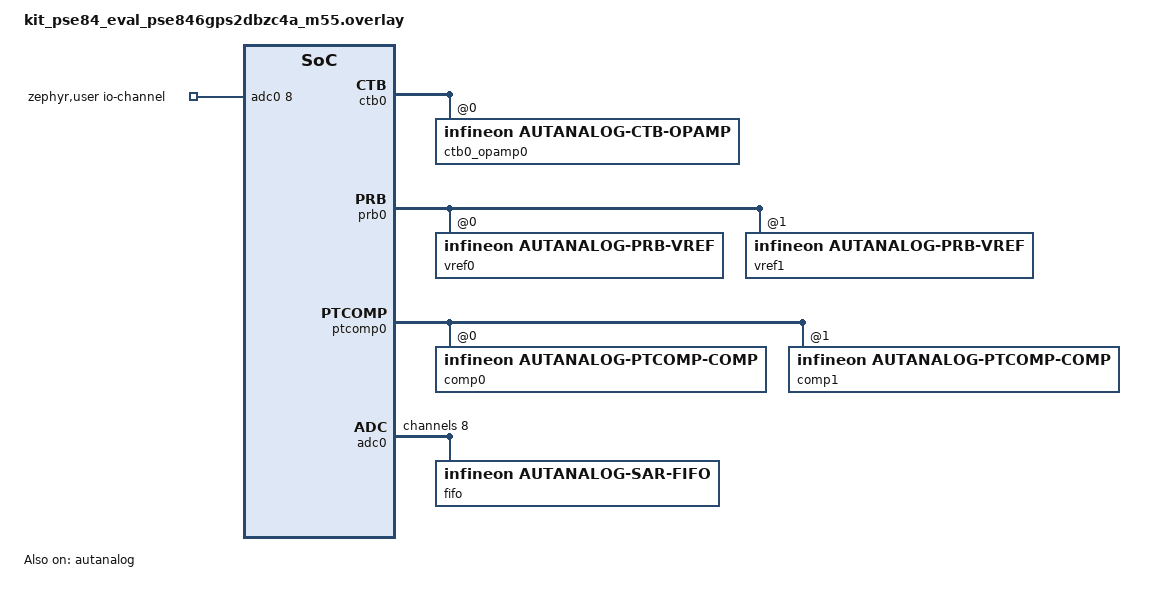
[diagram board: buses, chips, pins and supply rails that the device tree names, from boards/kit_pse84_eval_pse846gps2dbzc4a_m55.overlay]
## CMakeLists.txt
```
# SPDX-FileCopyrightText: Copyright (c) 2026 Infineon Technologies AG,
# SPDX-FileCopyrightText: or an affiliate of Infineon Technologies AG. All rights reserved.
#
# SPDX-License-Identifier: Apache-2.0

cmake_minimum_required(VERSION 3.20.0)

find_package(Zephyr REQUIRED HINTS $ENV{ZEPHYR_BASE})
project(ADC)

target_sources(app PRIVATE src/main.c)
```

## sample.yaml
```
# SPDX-FileCopyrightText: <text>Copyright (c) 2026 Infineon Technologies AG,
# or an affiliate of Infineon Technologies AG. All rights reserved.</text>
#
# SPDX-License-Identifier: Apache-2.0

sample:
  name: AutAnalog low-power audio sample
common:
  tags:
    - adc
    - comparator
  depends_on:
    - adc
  filter: dt_node_has_prop("/zephyr,user","io-channels")

tests:
  sample.boards.infineon.autanalog.lp_audio:
    platform_allow:
      - kit_pse84_eval/pse846gps2dbzc4a/m55
    integration_platforms:
      - kit_pse84_eval/pse846gps2dbzc4a/m55
    harness: console
    timeout: 30
    harness_config:
      type: multi_line
      regex:
        - "AutAnalog LP audio sample"
        - "Opamp .+ ready"
        - "Comparators ready"
        - "ADC ready"
        - "Frame \\d+: \\d+ samples"
```

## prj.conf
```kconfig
# SPDX-FileCopyrightText: Copyright (c) 2026 Infineon Technologies AG,
# SPDX-FileCopyrightText: or an affiliate of Infineon Technologies AG. All rights reserved.
#
# SPDX-License-Identifier: Apache-2.0

CONFIG_ADC=y
CONFIG_ADC_STREAM=y
CONFIG_COMPARATOR=y
CONFIG_OPAMP=y
CONFIG_REGULATOR=y
```

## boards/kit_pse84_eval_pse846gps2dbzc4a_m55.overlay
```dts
/*
 * SPDX-FileCopyrightText: Copyright (c) 2026 Infineon Technologies AG,
 * SPDX-FileCopyrightText: or an affiliate of Infineon Technologies AG. All rights reserved.
 *
 * SPDX-License-Identifier: Apache-2.0
 */

/*
 * Low-power autonomous analog configuration for voice/audio input.
 *
 * Signal path:
 *   Analog mic -> CTB0 OA0 (open-loop preamp) -> SAR MUX ch0 -> FIFO
 *   CTB0 OA0 output -> PTCOMP comp0/comp1 vs PRB thresholds (AAD)
 *
 * The SAR ADC runs in LP mode using LPOSC at 4.096 MHz.  The FIFO
 * collects conversion results and fires a watermark interrupt every
 * 160 samples (~10 ms at ~16 kHz effective rate).
 *
 * The Autonomous Controller (AC) uses an 11-state advanced state machine:
 *   State 0:  Init - wait for BLOCK_READY, enable LP mode, unlock peripherals
 *   State 1:  Wait for FW trigger 0 (start command from application)
 *   State 2:  Branch unconditionally to state 6 (skip AAD on first pass)
 *   State 3:  AAD entry - wait for BLOCK_READY
 *   State 4:  AAD - wait for PTCOMP_RANGE0 (acoustic activity detected)
 *   State 5:  No-op, fall through to state 6
 *   State 6:  Wait for TIMER_DONE_WAKE (periodic sampling tick, period=255)
 *   State 7:  Wait for BLOCK_READY, enable SAR
 *   State 8:  Trigger SAR conversion, wait for SAR_DONE
 *   State 9:  Check FW trigger 1 (stop): if not set -> loop to state 6
 *   State 10: Branch unconditionally to state 3 (return to AAD idle)
 */

#include <zephyr/dt-bindings/adc/adc.h>
#include <zephyr/dt-bindings/adc/infineon-autanalog-sar.h>
#include <zephyr/dt-bindings/comparator/infineon-autanalog-ptcomp.h>
#include <zephyr/dt-bindings/regulator/infineon-autanalog-prb.h>
#include <zephyr/dt-bindings/opamp/infineon-autanalog-ctb.h>
#include <zephyr/dt-bindings/mfd/infineon-autanalog.h>

/ {
	zephyr,user {
		/* Single MUX channel: CTB0 OA0 output (mic preamp) */
		io-channels = <&adc0 8>;
	};

	/*
	 * Autonomous Controller: 11-state advanced state machine
	 *
	 * Reference: analog_mic_interface_states_stt / analog_mic_interface_states_cfg
	 *
	 * Flow:
	 *   [0] Init -> [1] wait FW_TRIGGER0 -> [2] branch -> [6] timer loop
	 *   [6] TIMER_DONE_WAKE -> [7] enable SAR -> [8] trigger/SAR_DONE ->
	 *   [9] check FW_TRIGGER1: not set -> [6]; set -> [10] -> [3] AAD idle
	 *   [3] BLOCK_READY -> [4] PTCOMP_RANGE0 -> [5] -> [6] resume sampling
	 */

	/* State 0: Init - unlock, LP mode, wait BLOCK_READY -> state 1 */
	ac_state0: ac-state-0 {
		compatible = "infineon,autanalog-ac-state";
		ac-unlock = <1>;
		ac-lp-mode = <1>;
		ac-condition = <IFX_AUTANALOG_AC_COND_BLOCK_READY>;
		ac-action = <IFX_AUTANALOG_AC_ACTION_WAIT_FOR>;
		branch-state = <1>;
		/* PRB: set initial reference taps */
		prb-unlock = <1>;
		prb-vref0-fw = <1>;
		prb-vref0-tap = <IFX_AUTANALOG_PRB_TAP_8>;
		prb-vref1-fw = <1>;
		prb-vref1-tap = <IFX_AUTANALOG_PRB_TAP_6>;
		/* CTB0: enable opamp0 (mic preamp) */
		ctb0-unlock = <1>;
		ctb0-enable-opamp0 = <1>;
		ctb0-gain-opamp0 = <IFX_AUTANALOG_CTB_OA_GAIN_1_00>;
	};

	/* State 1: Wait for FW trigger 0 (application start command) */
	ac_state1: ac-state-1 {
		compatible = "infineon,autanalog-ac-state";
		ac-condition = <IFX_AUTANALOG_AC_COND_TR_IN0>;
		ac-action = <IFX_AUTANALOG_AC_ACTION_WAIT_FOR>;
	};

	/* State 2: Unconditional branch to state 6 (skip AAD on first pass) */
	ac_state2: ac-state-2 {
		compatible = "infineon,autanalog-ac-state";
		ac-condition = <IFX_AUTANALOG_AC_COND_TRUE>;
		ac-action = <IFX_AUTANALOG_AC_ACTION_BRANCH_IF_TRUE>;
		branch-state = <6>;
		/* Enable PTCOMP comparators for AAD detection */
		ptcomp0-enable-comp0 = <1>;
		ptcomp0-enable-comp1 = <1>;
		ptcomp0-dyn-cfg-idx-comp0 = <0>;
		ptcomp0-dyn-cfg-idx-comp1 = <1>;
	};

	/* State 3: AAD idle entry - wait BLOCK_READY */
	ac_state3: ac-state-3 {
		compatible = "infineon,autanalog-ac-state";
		ac-condition = <IFX_AUTANALOG_AC_COND_BLOCK_READY>;
		ac-action = <IFX_AUTANALOG_AC_ACTION_WAIT_FOR>;
		/* Re-enable PTCOMP for AAD (unlock to reconfigure) */
		ptcomp0-unlock = <1>;
		ptcomp0-enable-comp0 = <1>;
		ptcomp0-enable-comp1 = <1>;
		ptcomp0-dyn-cfg-idx-comp0 = <0>;
		ptcomp0-dyn-cfg-idx-comp1 = <1>;
	};

	/* State 4: AAD - wait for acoustic activity (PTCOMP range 0) */
	ac_state4: ac-state-4 {
		compatible = "infineon,autanalog-ac-state";
		ac-condition = <IFX_AUTANALOG_AC_COND_PTCOMP_RANGE0>;
		ac-action = <IFX_AUTANALOG_AC_ACTION_WAIT_FOR>;
	};

	/* State 5: No-op, fall through to state 6 */
	ac_state5: ac-state-5 {
		compatible = "infineon,autanalog-ac-state";
		ac-condition = <IFX_AUTANALOG_AC_COND_FALSE>;
		ac-action = <IFX_AUTANALOG_AC_ACTION_NEXT>;
		/* Disable PTCOMP during active sampling */
		ptcomp0-unlock = <0>;
	};

	/* State 6: Wait for timer tick (periodic sampling interval) */
	ac_state6: ac-state-6 {
		compatible = "infineon,autanalog-ac-state";
		ac-condition = <IFX_AUTANALOG_AC_COND_TIMER_DONE_WAKE>;
		ac-action = <IFX_AUTANALOG_AC_ACTION_WAIT_FOR>;
	};

	/* State 7: Enable SAR, wait BLOCK_READY */
	ac_state7: ac-state-7 {
		compatible = "infineon,autanalog-ac-state";
		ac-condition = <IFX_AUTANALOG_AC_COND_BLOCK_READY>;
		ac-action = <IFX_AUTANALOG_AC_ACTION_WAIT_FOR>;
		sar-unlock = <1>;
		sar-enable = <1>;
	};

	/* State 8: Trigger SAR conversion, wait SAR_DONE */
	ac_state8: ac-state-8 {
		compatible = "infineon,autanalog-ac-state";
		ac-condition = <IFX_AUTANALOG_AC_COND_SAR_DONE>;
		ac-action = <IFX_AUTANALOG_AC_ACTION_WAIT_FOR>;
		sar-unlock = <1>;
		sar-enable = <1>;
		sar-trigger = <1>;
	};

	/* State 9: Check FW trigger 1 (stop). If NOT set -> loop to 6.
	 * If set -> fall through to state 10 (return to AAD).
	 */
	ac_state9: ac-state-9 {
		compatible = "infineon,autanalog-ac-state";
		ac-condition = <IFX_AUTANALOG_AC_COND_TR_IN1>;
		ac-action = <IFX_AUTANALOG_AC_ACTION_BRANCH_IF_FALSE>;
		branch-state = <6>;
		sar-unlock = <1>;
	};

	/* State 10: Unconditional branch to state 3 (AAD idle) */
	ac_state10: ac-state-10 {
		compatible = "infineon,autanalog-ac-state";
		ac-condition = <IFX_AUTANALOG_AC_COND_TRUE>;
		ac-action = <IFX_AUTANALOG_AC_ACTION_BRANCH_IF_TRUE>;
		branch-state = <3>;
	};
};

&autanalog {
	ac-timer-enable;
	ac-timer-clk-src = <IFX_AUTANALOG_TIMER_CLK_LP>; /* LPOSC 4.096 MHz */
	ac-timer-period = <255>;

	ac-states = <&ac_state0 &ac_state1 &ac_state2 &ac_state3 &ac_state4
		     &ac_state5 &ac_state6 &ac_state7 &ac_state8 &ac_state9
		     &ac_state10>;
	status = "okay";
};

/*
 * CTB0 OA0: Microphone preamplifier (open-loop opamp)
 *
 * Reference: mic_preamps_and_filters_sta_cfg / mic_preamps_and_filters_dyn_cfg
 *   - Ultra-low power, open-loop topology
 *   - Non-inverting input: P14.0 (OA0_P0)
 *   - Inverting input:     P14.1 (OA0_P1)
 *   - Output routed to pin P14.2 and internally to SAR MUX / PTCOMP
 */
&ctb0 {
	status = "okay";

	ctb0_opamp0: opamp@0 {
		compatible = "infineon,autanalog-ctb-opamp";
		reg = <0>;
		power-mode = <IFX_AUTANALOG_CTB_OA_PWR_ULTRA_LOW>;
		topology = <IFX_AUTANALOG_CTB_OA_TOPO_OPEN_LOOP_OPAMP>;
		ninv-inp-pin = <IFX_AUTANALOG_CTB_OA_NINV_PIN_OA0_P0_OA1_P5>;
		inv-inp-pin = <IFX_AUTANALOG_CTB_OA_INV_PIN_OA0_P1_OA1_P4>;
		out-to-pin;
		functional-mode = "standalone";
	};
};

/*
 * PRB: Programmable reference voltages for AAD thresholds
 *
 * Reference: aad_threshold_voltages_0 / aad_threshold_voltages_1
 *   - VREF0: 0.5625 × VDDA (upper threshold)
 *   - VREF1: 0.4375 × VDDA (lower threshold)
 *   For VDDA = 1.8 V: VREF0 ≈ 1.013 V, VREF1 ≈ 0.788 V
 */
&prb0 {
	status = "okay";

	vref0: vref@0 {
		compatible = "infineon,autanalog-prb-vref";
		reg = <0>;
		source = <IFX_AUTANALOG_PRB_SRC_VDDA>;
		tap = <IFX_AUTANALOG_PRB_TAP_8>;  /* 0.5625 × Vsrc */
	};

	vref1: vref@1 {
		compatible = "infineon,autanalog-prb-vref";
		reg = <1>;
		source = <IFX_AUTANALOG_PRB_SRC_VDDA>;
		tap = <IFX_AUTANALOG_PRB_TAP_6>;  /* 0.4375 × Vsrc */
	};
};

/*
 * PTCOMP: Acoustic Activity Detection (AAD) comparators
 *
 * Reference: aad_comparators_sta_cfg / aad_comparators_dyn_cfg / aad_comparators_pp_cfg
 *   - Comp0: mic output (CTB0 OA0) vs upper threshold (PRB OUT0)
 *   - Comp1: lower threshold (PRB OUT1) vs mic output (CTB0 OA0)
 *   - Both use ULP power with hysteresis, rising-edge interrupts
 *   - Post-processing: frame-based level counting (period=3, window=2)
 *     triggers when count exceeds 2 in the frame -> acoustic activity
 */
&ptcomp0 {
	status = "okay";

	comp0: comp@0 {
		compatible = "infineon,autanalog-ptcomp-comp";
		reg = <0>;
		power-mode = <IFX_AUTANALOG_PTCOMP_PWR_ULP>;
		hysteresis;
		interrupt-mode = <IFX_AUTANALOG_PTCOMP_INT_EDGE_RISING>;
		positive-mux = <IFX_AUTANALOG_PTCOMP_MUX_CTB0_OA0_OUT>;
		negative-mux = <IFX_AUTANALOG_PTCOMP_MUX_PRB_OUT0>;
		pp-input-source = <IFX_AUTANALOG_PTCOMP_PP_SRC_COMP0>;
		pp-input-type = <IFX_AUTANALOG_PTCOMP_PP_TYPE_LEVEL>;
		pp-count-mode = <IFX_AUTANALOG_PTCOMP_PP_MODE_FRAME>;
		pp-data-function = <IFX_AUTANALOG_PTCOMP_PP_FUNC_A_OR_B>;
		pp-window-size = <IFX_AUTANALOG_PTCOMP_PP_WIN_2>;
		pp-period = <3>;
		pp-limit-condition = <IFX_AUTANALOG_PTCOMP_PP_COND_ABOVE>;
		pp-threshold-low = <0>;
		pp-threshold-high = <2>;
	};

	comp1: comp@1 {
		compatible = "infineon,autanalog-ptcomp-comp";
		reg = <1>;
		power-mode = <IFX_AUTANALOG_PTCOMP_PWR_ULP>;
		hysteresis;
		interrupt-mode = <IFX_AUTANALOG_PTCOMP_INT_EDGE_RISING>;
		positive-mux = <IFX_AUTANALOG_PTCOMP_MUX_PRB_OUT1>;
		negative-mux = <IFX_AUTANALOG_PTCOMP_MUX_CTB0_OA0_OUT>;
		pp-input-source = <IFX_AUTANALOG_PTCOMP_PP_SRC_COMP1>;
		pp-input-type = <IFX_AUTANALOG_PTCOMP_PP_TYPE_LEVEL>;
		pp-count-mode = <IFX_AUTANALOG_PTCOMP_PP_MODE_FRAME>;
		pp-data-function = <IFX_AUTANALOG_PTCOMP_PP_FUNC_A_OR_B>;
		pp-window-size = <IFX_AUTANALOG_PTCOMP_PP_WIN_2>;
		pp-period = <3>;
		pp-limit-condition = <IFX_AUTANALOG_PTCOMP_PP_COND_ABOVE>;
		pp-threshold-low = <0>;
		pp-threshold-high = <2>;
	};
};

/*
 * SAR ADC: Low-power audio sampling
 *
 * Reference: adc_for_vad_sta_cfg / adc_for_vad_mux_ch_cfg / adc_for_vad_fifo_cfg
 *   - LP mode (LPOSC 4.096 MHz), VDDA/2 reference
 *   - MUX channel 0: positive = CTB0 OA0 output, negative = CTB0 PIN1
 *   - Sign-extended differential result, buffer bypass
 *   - FIFO: single 512-word buffer, watermark at 159 words (~10 ms of audio)
 */
&adc0 {
	#address-cells = <1>;
	#size-cells = <0>;

	lp-mode;
	vref-source = <IFX_AUTANALOG_SAR_VREF_VDDA_BY_2>;
	pos-buf-pwr = <IFX_AUTANALOG_SAR_BUF_PWR_OFF>;
	neg-buf-pwr = <IFX_AUTANALOG_SAR_BUF_PWR_OFF>;
	status = "okay";

	/* FIFO: single 512-word buffer, watermark at 159 words */
	fifo {
		compatible = "infineon,autanalog-sar-fifo";
		fifo-levels = <159>;
	};

	/* MUX channel 0: mic preamp output (differential, sign-extended) */
	channel@8 {
		reg = <8>;
		/* Negative MUX pin defaults to CTB0_PIN1 (0) - no need for
		 * zephyr,input-negative (which would incorrectly set differential).
		 */
		sign;
		mux-buf-bypass;
		fifo-sel = <IFX_AUTANALOG_SAR_FIFO_0>;
		zephyr,acquisition-time = <ADC_ACQ_TIME(ADC_ACQ_TIME_MICROSECONDS, 1)>;
		zephyr,gain = "ADC_GAIN_1";
		zephyr,reference = "ADC_REF_INTERNAL";
		zephyr,resolution = <12>;
		zephyr,input-positive = <IFX_AUTANALOG_SAR_PIN_MUX_CTB0_OA0_OUT>;
	};
};
```

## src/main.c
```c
/*
 * SPDX-FileCopyrightText: Copyright (c) 2026 Infineon Technologies AG,
 * SPDX-FileCopyrightText: or an affiliate of Infineon Technologies AG. All rights reserved.
 *
 * SPDX-License-Identifier: Apache-2.0
 */

/*
 * Low-power autonomous analog audio sample.
 *
 * Uses the autonomous analog in low power mode to detect acoustic
 * activity and prints the detected audio frame to the console.
 *
 *   1. CTB0 OA0 amplifies the analog microphone signal.
 *   2. PTCOMP comparators perform Acoustic Activity Detection (AAD)
 *      by comparing the preamp output against two PRB reference
 *      voltages.
 *   3. The SAR ADC samples the preamp output in LP mode through an
 *      internal MUX channel.  Results are collected in a 512-word
 *      FIFO; a watermark interrupt fires every 160 samples (~10 ms).
 *   4. The AC state machine is started by ifx_autanalog_fw_trigger().
 *   5. Audio frame statistics are printed to the console using the
 *      ADC stream API (RTIO-based).
 */

#include <errno.h>
#include <inttypes.h>
#include <stdint.h>

#include <zephyr/device.h>
#include <zephyr/devicetree.h>
#include <zephyr/drivers/adc.h>
#include <zephyr/drivers/comparator.h>
#include <zephyr/drivers/opamp.h>
#include <zephyr/kernel.h>
#include <zephyr/rtio/rtio.h>
#include <zephyr/sys/printk.h>
#include <zephyr/sys/util.h>
#include <infineon_autanalog.h>

#if !DT_NODE_EXISTS(DT_PATH(zephyr_user)) || !DT_NODE_HAS_PROP(DT_PATH(zephyr_user), io_channels)
#error "No suitable devicetree overlay specified"
#endif

/* ---------- Device references ---------- */
static const struct device *autanalog_dev = DEVICE_DT_GET(DT_NODELABEL(autanalog));
static const struct device *comp0_dev = DEVICE_DT_GET(DT_NODELABEL(comp0));
static const struct device *comp1_dev = DEVICE_DT_GET(DT_NODELABEL(comp1));
static const struct device *opamp_dev = DEVICE_DT_GET(DT_NODELABEL(ctb0_opamp0));

/* ---------- ADC channel from DT ---------- */
#define DT_SPEC_AND_COMMA(node_id, prop, idx) ADC_DT_SPEC_GET_BY_IDX(node_id, idx),

static const struct adc_dt_spec adc_channels[] = {
	DT_FOREACH_PROP_ELEM(DT_PATH(zephyr_user), io_channels, DT_SPEC_AND_COMMA)};

/* ---------- ADC Stream (RTIO) ---------- */
#define SAMPLE_ADC_TRIGGERS                                                                        \
	{ADC_TRIG_FIFO_WATERMARK, ADC_STREAM_DATA_INCLUDE},                                        \
	{                                                                                          \
		ADC_TRIG_FIFO_FULL, ADC_STREAM_DATA_INCLUDE                                        \
	}

ADC_DT_STREAM_IODEV(stream_iodev, DT_NODELABEL(adc0), adc_channels, SAMPLE_ADC_TRIGGERS);
RTIO_DEFINE_WITH_MEMPOOL(adc_ctx, 8, 8, 8, 1024, sizeof(void *));

/* ---------- Comparator (AAD) events ---------- */
static volatile uint32_t comp0_events;
static volatile uint32_t comp1_events;

/* ---------- Callbacks ---------- */

static void comp0_callback(const struct device *dev, void *user_data)
{
	ARG_UNUSED(user_data);
	comp0_events++;
}

static void comp1_callback(const struct device *dev, void *user_data)
{
	ARG_UNUSED(user_data);
	comp1_events++;
}

/* ---------- Peripheral setup ---------- */

static int setup_opamp(void)
{
	if (!device_is_ready(opamp_dev)) {
		printk("Opamp device %s not ready\n", opamp_dev->name);
		return -ENODEV;
	}
	printk("Opamp %s ready\n", opamp_dev->name);
	return 0;
}

static int setup_comparators(void)
{
	int err;

	if (!device_is_ready(comp0_dev) || !device_is_ready(comp1_dev)) {
		printk("Comparator device not ready\n");
		return -ENODEV;
	}

	err = comparator_set_trigger(comp0_dev, COMPARATOR_TRIGGER_RISING_EDGE);
	if (err) {
		printk("comp0 trigger setup failed (%d)\n", err);
		return err;
	}
	err = comparator_set_trigger_callback(comp0_dev, comp0_callback, NULL);
	if (err) {
		printk("comp0 callback setup failed (%d)\n", err);
		return err;
	}

	err = comparator_set_trigger(comp1_dev, COMPARATOR_TRIGGER_RISING_EDGE);
	if (err) {
		printk("comp1 trigger setup failed (%d)\n", err);
		return err;
	}
	err = comparator_set_trigger_callback(comp1_dev, comp1_callback, NULL);
	if (err) {
		printk("comp1 callback setup failed (%d)\n", err);
		return err;
	}

	printk("Comparators ready (AAD enabled)\n");
	return 0;
}

static int setup_adc(void)
{
	int err;
	static struct adc_sequence sequence;
	struct adc_read_config *read_cfg = stream_iodev.data;
	rtio_sqe_handle_t handle;

	if (!adc_is_ready_dt(&adc_channels[0])) {
		printk("ADC device %s not ready\n", adc_channels[0].dev->name);
		return -ENODEV;
	}

	err = adc_channel_setup_dt(&adc_channels[0]);
	if (err) {
		printk("ADC channel setup failed (%d)\n", err);
		return err;
	}

	/* Configure the stream sequence */
	read_cfg->sequence = &sequence;
	err = adc_sequence_init_dt(&adc_channels[0], &sequence);
	if (err) {
		printk("ADC sequence init failed (%d)\n", err);
		return 0;
	}

	err = adc_stream(&stream_iodev, &adc_ctx, NULL, &handle);
	if (err) {
		printk("adc_stream failed (%d)\n", err);
		return 0;
	}

	printk("ADC ready (LP mode, MUX ch0 -> FIFO, stream)\n");
	return 0;
}

/* ---------- Main ---------- */

int main(void)
{
	int err;
	uint8_t *buf;
	uint32_t buf_len;
	uint32_t frame = 0;
	uint32_t prev_comp0 = 0;
	uint32_t prev_comp1 = 0;
	const struct adc_decoder_api *decoder;

	printk("AutAnalog LP audio sample\n");

	err = setup_opamp();
	if (err) {
		return 0;
	}

	err = setup_comparators();
	if (err) {
		return 0;
	}

	err = setup_adc();
	if (err) {
		return 0;
	}

	/* Wait for PRB references and opamp to stabilize */
	k_msleep(100);

	/*
	 * Send FW trigger 0 to the Autonomous Controller.
	 * The AC is already running (started by the MFD driver at boot).
	 * It is parked in state 1, waiting for TR_IN0.  This trigger
	 * advances the AC into the periodic SAR sampling loop
	 * (states 6->7->8->9).
	 */
	ifx_autanalog_fw_trigger(autanalog_dev, IFX_AUTANALOG_AC_FW_TRIGGER_0);
	printk("Waiting for audio data...\n\n");

	err = adc_get_decoder(adc_channels[0].dev, &decoder);
	if (err) {
		printk("adc_get_decoder failed (%d)\n", err);
		return 0;
	}

#ifndef CONFIG_COVERAGE
	while (1) {
#else
	for (int k = 0; k < 10; k++) {
#endif
		/* Block until the next FIFO watermark/overflow event */
		struct rtio_cqe *cqe = rtio_cqe_consume_block(&adc_ctx);

		if (cqe->result != 0) {
			printk("Stream error %d\n", cqe->result);
			rtio_cqe_release(&adc_ctx, cqe);
			break;
		}

		err = rtio_cqe_get_mempool_buffer(&adc_ctx, cqe, &buf, &buf_len);
		rtio_cqe_release(&adc_ctx, cqe);

		if (err) {
			printk("Failed to get mempool buffer (%d)\n", err);
			break;
		}

		/* Check whether any new comparator events fired */
		if (comp0_events != prev_comp0 || comp1_events != prev_comp1) {
			/* Decode frame count for channel 0 */
			uint16_t frame_count = 0;

			decoder->get_frame_count(buf, 0, &frame_count);

			/* Decode all samples and compute statistics */
			int32_t min_val = INT32_MAX;
			int32_t max_val = INT32_MIN;
			int64_t sum = 0;
			uint32_t fit = 0;

			for (uint16_t i = 0; i < frame_count; i++) {
				struct adc_data adc_data = {0};

				decoder->decode(buf, 0, &fit, 1, &adc_data);
				int32_t v = adc_data.readings[0].value;

				if (v < min_val) {
					min_val = v;
				}
				if (v > max_val) {
					max_val = v;
				}
				sum += v;
			}

			printk("Frame %u: %u samples, min=%d max=%d avg=%d\n", frame++, frame_count,
			       (int)min_val, (int)max_val,
			       frame_count ? (int)(sum / frame_count) : 0);
			printk("  AAD: comp0=%u comp1=%u\n", comp0_events, comp1_events);

			prev_comp0 = comp0_events;
			prev_comp1 = comp1_events;
		}

		rtio_release_buffer(&adc_ctx, buf, buf_len);

		/*
		 * After processing a FIFO frame, send FW trigger 1
		 * so the AC exits the SAR loop (state 9->10->3)
		 * and returns to AAD idle.  TR_IN1 is sticky but
		 * consumed the first time state 9 evaluates it,
		 * so we must re-send it each cycle.
		 */
		ifx_autanalog_fw_trigger(autanalog_dev, IFX_AUTANALOG_AC_FW_TRIGGER_1);
	}

	return 0;
}
```
